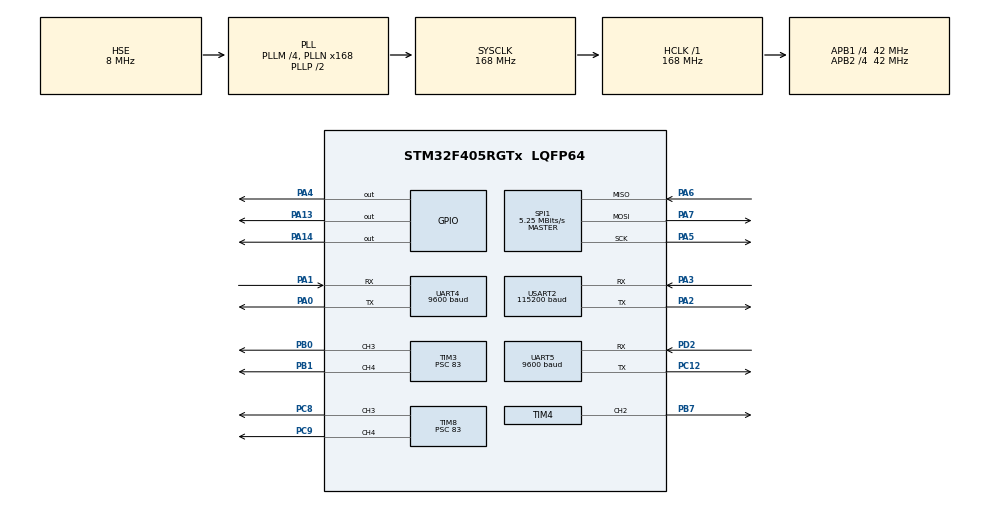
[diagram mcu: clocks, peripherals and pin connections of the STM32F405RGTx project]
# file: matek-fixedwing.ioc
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Mcu.Family=STM32F4
Mcu.Name=STM32F405RGTx
Mcu.Package=LQFP64
NVIC.PriorityGroup=NVIC_PRIORITYGROUP_4
NVIC.TIM5_IRQn=true\:0\:0\:false\:false\:true\:true\:true\:true
NVIC.TIM6_DAC_IRQn=true\:0\:0\:false\:false\:true\:true\:true\:true
NVIC.TIM7_IRQn=true\:0\:0\:false\:false\:true\:true\:true\:true
NVIC.UART4_IRQn=true\:0\:0\:false\:false\:true\:true\:true\:true
NVIC.UART5_IRQn=true\:0\:0\:false\:false\:true\:true\:true\:true
NVIC.USART2_IRQn=true\:0\:0\:false\:false\:true\:true\:true\:true
PA0-WKUP.Mode=Asynchronous
PA0-WKUP.Signal=UART4_TX
PA1.Mode=Asynchronous
PA1.Signal=UART4_RX
PA13.Signal=GPIO_Output
PA14.Signal=GPIO_Output
PA2.Mode=Asynchronous
PA2.Signal=USART2_TX
PA3.Mode=Asynchronous
PA3.Signal=USART2_RX
PA4.Signal=GPIO_Output
PA5.Mode=Full_Duplex_Master
PA5.Signal=SPI1_SCK
PA6.Mode=Full_Duplex_Master
PA6.Signal=SPI1_MISO
PA7.Mode=Full_Duplex_Master
PA7.Signal=SPI1_MOSI
PB0.Signal=S_TIM3_CH3
PB1.Signal=S_TIM3_CH4
PB7.Signal=S_TIM4_CH2
PC12.Mode=Asynchronous
PC12.Signal=UART5_TX
PC8.Signal=S_TIM8_CH3
PC9.Signal=S_TIM8_CH4
PD2.Mode=Asynchronous
PD2.Signal=UART5_RX
PH0-OSC_IN.Mode=HSE-External-Oscillator
PH0-OSC_IN.Signal=RCC_OSC_IN
PH1-OSC_OUT.Mode=HSE-External-Oscillator
PH1-OSC_OUT.Signal=RCC_OSC_OUT
ProjectManager.HeapSize=0x200
ProjectManager.StackSize=0x400
ProjectManager.TargetToolchain=STM32CubeIDE
RCC.48MHZClocksFreq_Value=84000000
RCC.AHBFreq_Value=168000000
RCC.APB1CLKDivider=RCC_HCLK_DIV4
RCC.APB1Freq_Value=42000000
RCC.APB1TimFreq_Value=84000000
RCC.APB2CLKDivider=RCC_HCLK_DIV4
RCC.APB2Freq_Value=42000000
RCC.APB2TimFreq_Value=84000000
RCC.CortexFreq_Value=168000000
RCC.HCLKFreq_Value=168000000
RCC.HSE_VALUE=8000000
RCC.HSI_VALUE=16000000
RCC.LSE_VALUE=32768
RCC.PLLM=4
RCC.PLLN=168
RCC.PLLSourceVirtual=RCC_PLLSOURCE_HSE
RCC.SYSCLKFreq_VALUE=168000000
RCC.SYSCLKSource=RCC_SYSCLKSOURCE_PLLCLK
RCC.VCOOutputFreq_Value=336000000
SH.S_TIM3_CH3.0=TIM3_CH3,PWM Generation3 CH3
SH.S_TIM3_CH4.0=TIM3_CH4,PWM Generation4 CH4
SH.S_TIM4_CH2.0=TIM4_CH2,PWM Generation2 CH2
SH.S_TIM8_CH3.0=TIM8_CH3,PWM Generation3 CH3
SH.S_TIM8_CH4.0=TIM8_CH4,PWM Generation4 CH4
SPI1.BaudRatePrescaler=SPI_BAUDRATEPRESCALER_8
SPI1.CLKPhase=SPI_PHASE_2EDGE
SPI1.CLKPolarity=SPI_POLARITY_HIGH
SPI1.CalculateBaudRate=5.25 MBits/s
SPI1.Direction=SPI_DIRECTION_2LINES
SPI1.Mode=SPI_MODE_MASTER
SPI1.VirtualType=VM_MASTER
TIM3.Channel-PWM\ Generation3\ CH3=TIM_CHANNEL_3
TIM3.Channel-PWM\ Generation4\ CH4=TIM_CHANNEL_4
TIM3.Period=19999
TIM3.Prescaler=83
TIM4.Channel-PWM\ Generation2\ CH2=TIM_CHANNEL_2
TIM4.Period=1999
TIM4.Prescaler=83
TIM5.Channel-Output\ Compare1\ No\ Output=TIM_CHANNEL_1
TIM5.Period=999
TIM5.Prescaler=83
TIM6.Period=19999
TIM6.Prescaler=83
TIM7.Period=\ 19999
TIM7.Prescaler=83
TIM8.Channel-PWM\ Generation3\ CH3=TIM_CHANNEL_3
TIM8.Channel-PWM\ Generation4\ CH4=TIM_CHANNEL_4
TIM8.Period=19999
TIM8.Prescaler=83
UART4.BaudRate=9600
UART4.VirtualMode=Asynchronous
UART5.BaudRate=9600
UART5.VirtualMode=Asynchronous
USART2.BaudRate=115200
USART2.VirtualMode=VM_ASYNC
VP_TIM5_VS_no_output1.Mode=Output Compare1 No Output
VP_TIM6_VS_ClockSourceINT.Mode=Enable_Timer
VP_TIM7_VS_ClockSourceINT.Mode=Enable_Timer
board=custom

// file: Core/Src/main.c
/* USER CODE BEGIN Header */
/**
  ******************************************************************************
  * @file           : main.c
  * @brief          : Main program body
  ******************************************************************************
  * @attention
  *
  * Copyright (c) 2024 STMicroelectronics.
  * All rights reserved.
  *
  * This software is licensed under terms that can be found in the LICENSE file
  * in the root directory of this software component.
  * If no LICENSE file comes with this software, it is provided AS-IS.
  *
  ******************************************************************************
  */
/* USER CODE END Header */
#include "main.h"

/* USER CODE BEGIN Includes */
#include "uart_utils.h"
#include "timer.h"
#include <stdio.h>
#include "esc.h"
#include "servo.h"
#include "kinematics.h"
#include "imu.h"
#include "control.h"
/* USER CODE END Includes */

SPI_HandleTypeDef hspi1;

TIM_HandleTypeDef htim3;
TIM_HandleTypeDef htim4;
TIM_HandleTypeDef htim5;
TIM_HandleTypeDef htim6;
TIM_HandleTypeDef htim7;
TIM_HandleTypeDef htim8;

/* USER CODE BEGIN PV */
extern uint8_t euler_state_update_it;
extern uint8_t control_surface_angle_update_it;
extern uint8_t debug_it;

extern int16_t raw_acc_x;
extern int16_t raw_acc_y;
extern int16_t raw_acc_z;
extern int16_t raw_gyro_x;
extern int16_t raw_gyro_y;
extern int16_t raw_gyro_z;
extern float acc_x;
extern float acc_y;
extern float acc_z;
extern float gyro_x;
extern float gyro_y;
extern float gyro_z;
extern float phi;
extern float theta;
extern float phi_dot;
extern float theta_dot;
extern float psi_dot;
extern float command[4];
extern float w_dot_ref[3];
extern int servo1_offset;
extern int servo2_offset;
extern int servo3_offset;
extern int servo4_offset;

extern float phi_error_P_gain;
extern float w_x_FF_gain;
extern float w_x_error_P_gain;
extern float w_x_error_I_gain;
/* USER CODE END PV */

void SystemClock_Config(void);
static void MX_GPIO_Init(void);
static void MX_UART4_Init(void);
static void MX_USART2_UART_Init(void);
static void MX_SPI1_Init(void);
static void MX_TIM5_Init(void);
static void MX_TIM4_Init(void);
static void MX_TIM3_Init(void);
static void MX_TIM8_Init(void);
static void MX_TIM6_Init(void);
static void MX_TIM7_Init(void);
static void MX_UART5_Init(void);

int main(void)
{

  /* MCU Configuration--------------------------------------------------------*/

  /* Reset of all peripherals, Initializes the Flash interface and the Systick. */
  HAL_Init();

  /* Configure the system clock */
  SystemClock_Config();

  /* Initialize all configured peripherals */
  MX_GPIO_Init();
  MX_UART4_Init();
  MX_USART2_UART_Init();
  MX_SPI1_Init();
  MX_TIM5_Init();
  MX_TIM4_Init();
  MX_TIM3_Init();
  MX_TIM8_Init();
  MX_TIM6_Init();
  MX_TIM7_Init();
  MX_UART5_Init();
  /* USER CODE BEGIN 2 */
  init_uarts();
  init_imu();
  start_euler_state_update_tim();
  start_control_surface_angle_update_tim();
  start_debug_tim();
  start_servos();

  start_esc();
  // do_calibration();
  skip_arming_mode();
  update_throttle(1000);
  /* USER CODE END 2 */

  /* Infinite loop */
  /* USER CODE BEGIN WHILE */
  while (1) {
		if (euler_state_update_it) {
			update_imu_value();
			update_euler_state();
			euler_state_update_it = 0;
		}
		if (control_surface_angle_update_it) {
			update_control_surface_angle();
			update_throttle(1000.0 + command[2] * 9.0 / 10.0);
			control_surface_angle_update_it = 0;
		}
		if (debug_it) {
			printf(
				"%f %f %f %f\r\n",
				phi_error_P_gain,
				w_x_FF_gain,
				w_x_error_P_gain,
				w_x_error_I_gain
			);
			debug_it = 0;
		}
    /* USER CODE END WHILE */

  }
}

void SystemClock_Config(void)
{
  RCC_OscInitTypeDef RCC_OscInitStruct = {0};
  RCC_ClkInitTypeDef RCC_ClkInitStruct = {0};

  /** Configure the main internal regulator output voltage
  */
  __HAL_RCC_PWR_CLK_ENABLE();
  __HAL_PWR_VOLTAGESCALING_CONFIG(PWR_REGULATOR_VOLTAGE_SCALE1);

  /** Initializes the RCC Oscillators according to the specified parameters
  * in the RCC_OscInitTypeDef structure.
  */
  RCC_OscInitStruct.OscillatorType = RCC_OSCILLATORTYPE_HSE;
  RCC_OscInitStruct.HSEState = RCC_HSE_ON;
  RCC_OscInitStruct.PLL.PLLState = RCC_PLL_ON;
  RCC_OscInitStruct.PLL.PLLSource = RCC_PLLSOURCE_HSE;
  RCC_OscInitStruct.PLL.PLLM = 4;
  RCC_OscInitStruct.PLL.PLLN = 168;
  RCC_OscInitStruct.PLL.PLLP = RCC_PLLP_DIV2;
  RCC_OscInitStruct.PLL.PLLQ = 4;
  if (HAL_RCC_OscConfig(&RCC_OscInitStruct) != HAL_OK)
  {
    Error_Handler();
  }

  /** Initializes the CPU, AHB and APB buses clocks
  */
  RCC_ClkInitStruct.ClockType = RCC_CLOCKTYPE_HCLK|RCC_CLOCKTYPE_SYSCLK
                              |RCC_CLOCKTYPE_PCLK1|RCC_CLOCKTYPE_PCLK2;
  RCC_ClkInitStruct.SYSCLKSource = RCC_SYSCLKSOURCE_PLLCLK;
  RCC_ClkInitStruct.AHBCLKDivider = RCC_SYSCLK_DIV1;
  RCC_ClkInitStruct.APB1CLKDivider = RCC_HCLK_DIV4;
  RCC_ClkInitStruct.APB2CLKDivider = RCC_HCLK_DIV4;

  if (HAL_RCC_ClockConfig(&RCC_ClkInitStruct, FLASH_LATENCY_5) != HAL_OK)
  {
    Error_Handler();
  }
}

static void MX_SPI1_Init(void)
{

  /* SPI1 parameter configuration*/
  hspi1.Instance = SPI1;
  hspi1.Init.Mode = SPI_MODE_MASTER;
  hspi1.Init.Direction = SPI_DIRECTION_2LINES;
  hspi1.Init.DataSize = SPI_DATASIZE_8BIT;
  hspi1.Init.CLKPolarity = SPI_POLARITY_HIGH;
  hspi1.Init.CLKPhase = SPI_PHASE_2EDGE;
  hspi1.Init.NSS = SPI_NSS_SOFT;
  hspi1.Init.BaudRatePrescaler = SPI_BAUDRATEPRESCALER_8;
  hspi1.Init.FirstBit = SPI_FIRSTBIT_MSB;
  hspi1.Init.TIMode = SPI_TIMODE_DISABLE;
  hspi1.Init.CRCCalculation = SPI_CRCCALCULATION_DISABLE;
  hspi1.Init.CRCPolynomial = 10;
  if (HAL_SPI_Init(&hspi1) != HAL_OK)
  {
    Error_Handler();
  }

}

static void MX_TIM3_Init(void)
{

  TIM_MasterConfigTypeDef sMasterConfig = {0};
  TIM_OC_InitTypeDef sConfigOC = {0};

  htim3.Instance = TIM3;
  htim3.Init.Prescaler = 83;
  htim3.Init.CounterMode = TIM_COUNTERMODE_UP;
  htim3.Init.Period = 19999;
  htim3.Init.ClockDivision = TIM_CLOCKDIVISION_DIV1;
  htim3.Init.AutoReloadPreload = TIM_AUTORELOAD_PRELOAD_DISABLE;
  if (HAL_TIM_PWM_Init(&htim3) != HAL_OK)
  {
    Error_Handler();
  }
  sMasterConfig.MasterOutputTrigger = TIM_TRGO_RESET;
  sMasterConfig.MasterSlaveMode = TIM_MASTERSLAVEMODE_DISABLE;
  if (HAL_TIMEx_MasterConfigSynchronization(&htim3, &sMasterConfig) != HAL_OK)
  {
    Error_Handler();
  }
  sConfigOC.OCMode = TIM_OCMODE_PWM1;
  sConfigOC.Pulse = 0;
  sConfigOC.OCPolarity = TIM_OCPOLARITY_HIGH;
  sConfigOC.OCFastMode = TIM_OCFAST_DISABLE;
  if (HAL_TIM_PWM_ConfigChannel(&htim3, &sConfigOC, TIM_CHANNEL_3) != HAL_OK)
  {
    Error_Handler();
  }
  if (HAL_TIM_PWM_ConfigChannel(&htim3, &sConfigOC, TIM_CHANNEL_4) != HAL_OK)
  {
    Error_Handler();
  }
  HAL_TIM_MspPostInit(&htim3);

}

static void MX_TIM4_Init(void)
{

  TIM_MasterConfigTypeDef sMasterConfig = {0};
  TIM_OC_InitTypeDef sConfigOC = {0};

  htim4.Instance = TIM4;
  htim4.Init.Prescaler = 83;
  htim4.Init.CounterMode = TIM_COUNTERMODE_UP;
  htim4.Init.Period = 1999;
  htim4.Init.ClockDivision = TIM_CLOCKDIVISION_DIV1;
  htim4.Init.AutoReloadPreload = TIM_AUTORELOAD_PRELOAD_DISABLE;
  if (HAL_TIM_PWM_Init(&htim4) != HAL_OK)
  {
    Error_Handler();
  }
  sMasterConfig.MasterOutputTrigger = TIM_TRGO_RESET;
  sMasterConfig.MasterSlaveMode = TIM_MASTERSLAVEMODE_DISABLE;
  if (HAL_TIMEx_MasterConfigSynchronization(&htim4, &sMasterConfig) != HAL_OK)
  {
    Error_Handler();
  }
  sConfigOC.OCMode = TIM_OCMODE_PWM1;
  sConfigOC.Pulse = 0;
  sConfigOC.OCPolarity = TIM_OCPOLARITY_HIGH;
  sConfigOC.OCFastMode = TIM_OCFAST_DISABLE;
  if (HAL_TIM_PWM_ConfigChannel(&htim4, &sConfigOC, TIM_CHANNEL_2) != HAL_OK)
  {
    Error_Handler();
  }
  HAL_TIM_MspPostInit(&htim4);

}

static void MX_TIM5_Init(void)
{

  TIM_MasterConfigTypeDef sMasterConfig = {0};
  TIM_OC_InitTypeDef sConfigOC = {0};

  htim5.Instance = TIM5;
  htim5.Init.Prescaler = 83;
  htim5.Init.CounterMode = TIM_COUNTERMODE_UP;
  htim5.Init.Period = 999;
  htim5.Init.ClockDivision = TIM_CLOCKDIVISION_DIV1;
  htim5.Init.AutoReloadPreload = TIM_AUTORELOAD_PRELOAD_DISABLE;
  if (HAL_TIM_OC_Init(&htim5) != HAL_OK)
  {
    Error_Handler();
  }
  sMasterConfig.MasterOutputTrigger = TIM_TRGO_RESET;
  sMasterConfig.MasterSlaveMode = TIM_MASTERSLAVEMODE_DISABLE;
  if (HAL_TIMEx_MasterConfigSynchronization(&htim5, &sMasterConfig) != HAL_OK)
  {
    Error_Handler();
  }
  sConfigOC.OCMode = TIM_OCMODE_TIMING;
  sConfigOC.Pulse = 0;
  sConfigOC.OCPolarity = TIM_OCPOLARITY_HIGH;
  sConfigOC.OCFastMode = TIM_OCFAST_DISABLE;
  if (HAL_TIM_OC_ConfigChannel(&htim5, &sConfigOC, TIM_CHANNEL_1) != HAL_OK)
  {
    Error_Handler();
  }

}

static void MX_TIM6_Init(void)
{

  TIM_MasterConfigTypeDef sMasterConfig = {0};

  htim6.Instance = TIM6;
  htim6.Init.Prescaler = 83;
  htim6.Init.CounterMode = TIM_COUNTERMODE_UP;
  htim6.Init.Period = 19999;
  htim6.Init.AutoReloadPreload = TIM_AUTORELOAD_PRELOAD_DISABLE;
  if (HAL_TIM_Base_Init(&htim6) != HAL_OK)
  {
    Error_Handler();
  }
  sMasterConfig.MasterOutputTrigger = TIM_TRGO_RESET;
  sMasterConfig.MasterSlaveMode = TIM_MASTERSLAVEMODE_DISABLE;
  if (HAL_TIMEx_MasterConfigSynchronization(&htim6, &sMasterConfig) != HAL_OK)
  {
    Error_Handler();
  }

}

static void MX_TIM7_Init(void)
{

  TIM_MasterConfigTypeDef sMasterConfig = {0};

  htim7.Instance = TIM7;
  htim7.Init.Prescaler = 83;
  htim7.Init.CounterMode = TIM_COUNTERMODE_UP;
  htim7.Init.Period = 19999;
  htim7.Init.AutoReloadPreload = TIM_AUTORELOAD_PRELOAD_DISABLE;
  if (HAL_TIM_Base_Init(&htim7) != HAL_OK)
  {
    Error_Handler();
  }
  sMasterConfig.MasterOutputTrigger = TIM_TRGO_RESET;
  sMasterConfig.MasterSlaveMode = TIM_MASTERSLAVEMODE_DISABLE;
  if (HAL_TIMEx_MasterConfigSynchronization(&htim7, &sMasterConfig) != HAL_OK)
  {
    Error_Handler();
  }

}

static void MX_TIM8_Init(void)
{

  TIM_MasterConfigTypeDef sMasterConfig = {0};
  TIM_OC_InitTypeDef sConfigOC = {0};
  TIM_BreakDeadTimeConfigTypeDef sBreakDeadTimeConfig = {0};

  htim8.Instance = TIM8;
  htim8.Init.Prescaler = 83;
  htim8.Init.CounterMode = TIM_COUNTERMODE_UP;
  htim8.Init.Period = 19999;
  htim8.Init.ClockDivision = TIM_CLOCKDIVISION_DIV1;
  htim8.Init.RepetitionCounter = 0;
  htim8.Init.AutoReloadPreload = TIM_AUTORELOAD_PRELOAD_DISABLE;
  if (HAL_TIM_PWM_Init(&htim8) != HAL_OK)
  {
    Error_Handler();
  }
  sMasterConfig.MasterOutputTrigger = TIM_TRGO_RESET;
  sMasterConfig.MasterSlaveMode = TIM_MASTERSLAVEMODE_DISABLE;
  if (HAL_TIMEx_MasterConfigSynchronization(&htim8, &sMasterConfig) != HAL_OK)
  {
    Error_Handler();
  }
  sConfigOC.OCMode = TIM_OCMODE_PWM1;
  sConfigOC.Pulse = 0;
  sConfigOC.OCPolarity = TIM_OCPOLARITY_HIGH;
  sConfigOC.OCNPolarity = TIM_OCNPOLARITY_HIGH;
  sConfigOC.OCFastMode = TIM_OCFAST_DISABLE;
  sConfigOC.OCIdleState = TIM_OCIDLESTATE_RESET;
  sConfigOC.OCNIdleState = TIM_OCNIDLESTATE_RESET;
  if (HAL_TIM_PWM_ConfigChannel(&htim8, &sConfigOC, TIM_CHANNEL_3) != HAL_OK)
  {
    Error_Handler();
  }
  if (HAL_TIM_PWM_ConfigChannel(&htim8, &sConfigOC, TIM_CHANNEL_4) != HAL_OK)
  {
    Error_Handler();
  }
  sBreakDeadTimeConfig.OffStateRunMode = TIM_OSSR_DISABLE;
  sBreakDeadTimeConfig.OffStateIDLEMode = TIM_OSSI_DISABLE;
  sBreakDeadTimeConfig.LockLevel = TIM_LOCKLEVEL_OFF;
  sBreakDeadTimeConfig.DeadTime = 0;
  sBreakDeadTimeConfig.BreakState = TIM_BREAK_DISABLE;
  sBreakDeadTimeConfig.BreakPolarity = TIM_BREAKPOLARITY_HIGH;
  sBreakDeadTimeConfig.AutomaticOutput = TIM_AUTOMATICOUTPUT_DISABLE;
  if (HAL_TIMEx_ConfigBreakDeadTime(&htim8, &sBreakDeadTimeConfig) != HAL_OK)
  {
    Error_Handler();
  }
  HAL_TIM_MspPostInit(&htim8);

}

static void MX_UART4_Init(void)
{

  LL_USART_InitTypeDef USART_InitStruct = {0};

  LL_GPIO_InitTypeDef GPIO_InitStruct = {0};

  /* Peripheral clock enable */
  LL_APB1_GRP1_EnableClock(LL_APB1_GRP1_PERIPH_UART4);

  LL_AHB1_GRP1_EnableClock(LL_AHB1_GRP1_PERIPH_GPIOA);
  /**UART4 GPIO Configuration
  PA0-WKUP   ------> UART4_TX
  PA1   ------> UART4_RX
  */
  GPIO_InitStruct.Pin = LL_GPIO_PIN_0|LL_GPIO_PIN_1;
  GPIO_InitStruct.Mode = LL_GPIO_MODE_ALTERNATE;
  GPIO_InitStruct.Speed = LL_GPIO_SPEED_FREQ_VERY_HIGH;
  GPIO_InitStruct.OutputType = LL_GPIO_OUTPUT_PUSHPULL;
  GPIO_InitStruct.Pull = LL_GPIO_PULL_NO;
  GPIO_InitStruct.Alternate = LL_GPIO_AF_8;
  LL_GPIO_Init(GPIOA, &GPIO_InitStruct);

  /* UART4 interrupt Init */
  NVIC_SetPriority(UART4_IRQn, NVIC_EncodePriority(NVIC_GetPriorityGrouping(),0, 0));
  NVIC_EnableIRQ(UART4_IRQn);

  USART_InitStruct.BaudRate = 9600;
  USART_InitStruct.DataWidth = LL_USART_DATAWIDTH_8B;
  USART_InitStruct.StopBits = LL_USART_STOPBITS_1;
  USART_InitStruct.Parity = LL_USART_PARITY_NONE;
  USART_InitStruct.TransferDirection = LL_USART_DIRECTION_TX_RX;
  USART_InitStruct.HardwareFlowControl = LL_USART_HWCONTROL_NONE;
  USART_InitStruct.OverSampling = LL_USART_OVERSAMPLING_16;
  LL_USART_Init(UART4, &USART_InitStruct);
  LL_USART_ConfigAsyncMode(UART4);
  LL_USART_Enable(UART4);

}

static void MX_UART5_Init(void)
{

  LL_USART_InitTypeDef USART_InitStruct = {0};

  LL_GPIO_InitTypeDef GPIO_InitStruct = {0};

  /* Peripheral clock enable */
  LL_APB1_GRP1_EnableClock(LL_APB1_GRP1_PERIPH_UART5);

  LL_AHB1_GRP1_EnableClock(LL_AHB1_GRP1_PERIPH_GPIOC);
  LL_AHB1_GRP1_EnableClock(LL_AHB1_GRP1_PERIPH_GPIOD);
  /**UART5 GPIO Configuration
  PC12   ------> UART5_TX
  PD2   ------> UART5_RX
  */
  GPIO_InitStruct.Pin = LL_GPIO_PIN_12;
  GPIO_InitStruct.Mode = LL_GPIO_MODE_ALTERNATE;
  GPIO_InitStruct.Speed = LL_GPIO_SPEED_FREQ_VERY_HIGH;
  GPIO_InitStruct.OutputType = LL_GPIO_OUTPUT_PUSHPULL;
  GPIO_InitStruct.Pull = LL_GPIO_PULL_NO;
  GPIO_InitStruct.Alternate = LL_GPIO_AF_8;
  LL_GPIO_Init(GPIOC, &GPIO_InitStruct);

  GPIO_InitStruct.Pin = LL_GPIO_PIN_2;
  GPIO_InitStruct.Mode = LL_GPIO_MODE_ALTERNATE;
  GPIO_InitStruct.Speed = LL_GPIO_SPEED_FREQ_VERY_HIGH;
  GPIO_InitStruct.OutputType = LL_GPIO_OUTPUT_PUSHPULL;
  GPIO_InitStruct.Pull = LL_GPIO_PULL_NO;
  GPIO_InitStruct.Alternate = LL_GPIO_AF_8;
  LL_GPIO_Init(GPIOD, &GPIO_InitStruct);

  /* UART5 interrupt Init */
  NVIC_SetPriority(UART5_IRQn, NVIC_EncodePriority(NVIC_GetPriorityGrouping(),0, 0));
  NVIC_EnableIRQ(UART5_IRQn);

  USART_InitStruct.BaudRate = 9600;
  USART_InitStruct.DataWidth = LL_USART_DATAWIDTH_8B;
  USART_InitStruct.StopBits = LL_USART_STOPBITS_1;
  USART_InitStruct.Parity = LL_USART_PARITY_NONE;
  USART_InitStruct.TransferDirection = LL_USART_DIRECTION_TX_RX;
  USART_InitStruct.HardwareFlowControl = LL_USART_HWCONTROL_NONE;
  USART_InitStruct.OverSampling = LL_USART_OVERSAMPLING_16;
  LL_USART_Init(UART5, &USART_InitStruct);
  LL_USART_ConfigAsyncMode(UART5);
  LL_USART_Enable(UART5);

}

static void MX_USART2_UART_Init(void)
{

  LL_USART_InitTypeDef USART_InitStruct = {0};

  LL_GPIO_InitTypeDef GPIO_InitStruct = {0};

  /* Peripheral clock enable */
  LL_APB1_GRP1_EnableClock(LL_APB1_GRP1_PERIPH_USART2);

  LL_AHB1_GRP1_EnableClock(LL_AHB1_GRP1_PERIPH_GPIOA);
  /**USART2 GPIO Configuration
  PA2   ------> USART2_TX
  PA3   ------> USART2_RX
  */
  GPIO_InitStruct.Pin = LL_GPIO_PIN_2|LL_GPIO_PIN_3;
  GPIO_InitStruct.Mode = LL_GPIO_MODE_ALTERNATE;
  GPIO_InitStruct.Speed = LL_GPIO_SPEED_FREQ_VERY_HIGH;
  GPIO_InitStruct.OutputType = LL_GPIO_OUTPUT_PUSHPULL;
  GPIO_InitStruct.Pull = LL_GPIO_PULL_NO;
  GPIO_InitStruct.Alternate = LL_GPIO_AF_7;
  LL_GPIO_Init(GPIOA, &GPIO_InitStruct);

  /* USART2 interrupt Init */
  NVIC_SetPriority(USART2_IRQn, NVIC_EncodePriority(NVIC_GetPriorityGrouping(),0, 0));
  NVIC_EnableIRQ(USART2_IRQn);

  USART_InitStruct.BaudRate = 115200;
  USART_InitStruct.DataWidth = LL_USART_DATAWIDTH_8B;
  USART_InitStruct.StopBits = LL_USART_STOPBITS_1;
  USART_InitStruct.Parity = LL_USART_PARITY_NONE;
  USART_InitStruct.TransferDirection = LL_USART_DIRECTION_TX_RX;
  USART_InitStruct.HardwareFlowControl = LL_USART_HWCONTROL_NONE;
  USART_InitStruct.OverSampling = LL_USART_OVERSAMPLING_16;
  LL_USART_Init(USART2, &USART_InitStruct);
  LL_USART_ConfigAsyncMode(USART2);
  LL_USART_Enable(USART2);

}

static void MX_GPIO_Init(void)
{
  GPIO_InitTypeDef GPIO_InitStruct = {0};

  /* GPIO Ports Clock Enable */
  __HAL_RCC_GPIOH_CLK_ENABLE();
  __HAL_RCC_GPIOA_CLK_ENABLE();
  __HAL_RCC_GPIOB_CLK_ENABLE();
  __HAL_RCC_GPIOC_CLK_ENABLE();
  __HAL_RCC_GPIOD_CLK_ENABLE();

  /*Configure GPIO pin Output Level */
  HAL_GPIO_WritePin(GPIOA, GPIO_PIN_4|GPIO_PIN_13|GPIO_PIN_14, GPIO_PIN_RESET);

  /*Configure GPIO pins : PA4 PA13 PA14 */
  GPIO_InitStruct.Pin = GPIO_PIN_4|GPIO_PIN_13|GPIO_PIN_14;
  GPIO_InitStruct.Mode = GPIO_MODE_OUTPUT_PP;
  GPIO_InitStruct.Pull = GPIO_NOPULL;
  GPIO_InitStruct.Speed = GPIO_SPEED_FREQ_LOW;
  HAL_GPIO_Init(GPIOA, &GPIO_InitStruct);

}

void Error_Handler(void)
{
  __disable_irq();
  while (1)
  {
  }
}
